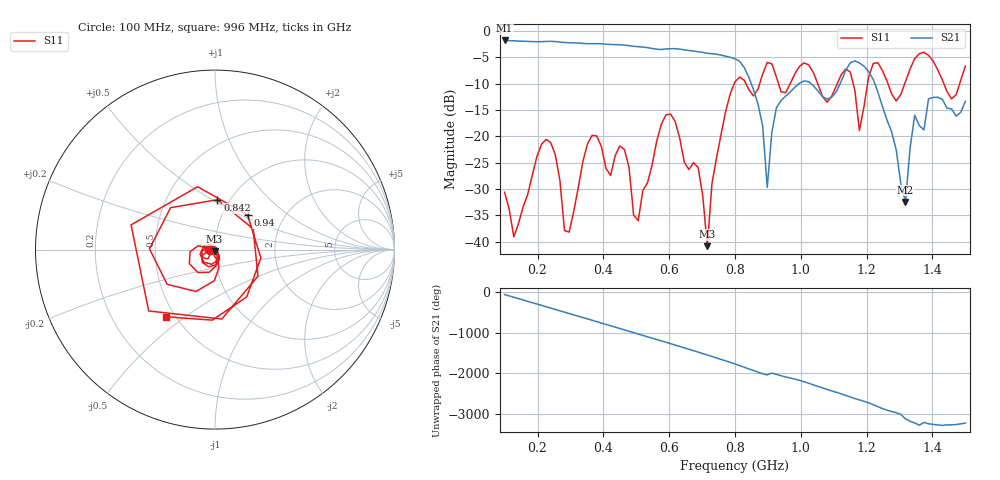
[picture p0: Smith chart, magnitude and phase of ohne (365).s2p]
! NanoVNA-App
! Date: 2025-09-25 14:23:38
! Start: 100MHz Stop: 1,5GHz Points: 101
! S-Parameter data: F S11 S21 S12 S22
# Hz S RI R 50
!  Frequency  S11_Real  S11_Imag  S21_Real  S21_Imag  S12_Real  S12_Imag  S22_Real  S22_Imag
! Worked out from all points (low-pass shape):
!   101 points, 100 MHz to 1.5 GHz, reference 50 ohm
!   highest |S21| = -1.79 dB at 100 MHz (marker M1); lowest = -32.5 dB at 1.318 GHz (marker M2)
!   |S21| within 3 dB of the highest: start of sweep to 771.8 MHz
!   lowest |S11| = -40.9 dB at 716 MHz (marker M3), VSWR 1.02, Z = 49.7 - j0.862 ohm
!   |S11| at or under -10 dB: start of sweep to 797.8 MHz; 833.1 MHz to 875 MHz (41.94 MHz wide, 4.91 % of centre); 1.051 GHz to 1.111 GHz (59.51 MHz wide, 5.5 % of centre) (the widest 3 of 7)
!   S12 and S22 are empty: the file has one direction only
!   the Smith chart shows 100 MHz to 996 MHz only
!   S11 on the Smith chart (normalised r, x): 100 MHz: 0.94, -0.01; 842 MHz: 0.88, +0.53; 940 MHz: 1.32, +0.55; 996 MHz: 0.45, -0.43
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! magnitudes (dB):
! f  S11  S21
! 100 MHz  -30.6  -1.8
! 128 MHz  -39.1  -1.9
! 226 MHz  -20.6  -2.0
! 296 MHz  -38.2  -2.2
! 338 MHz  -24.7  -2.4
! 464 MHz  -22.5  -2.7
! 506 MHz  -36.0  -3.0
! 576 MHz  -17.7  -3.5
! 688 MHz  -25.9  -3.9
! 716 MHz  -40.9  -4.2
! 800 MHz  -9.6  -5.3
! 842 MHz  -11.1  -8.8
! 898 MHz  -6.0  -29.7
! 940 MHz  -11.5  -13.2
! 996 MHz  -6.7  -9.9
! 1.038 GHz  -7.9  -10.4
! 1.178 GHz  -18.9  -6.1
! 1.22 GHz  -6.2  -9.2
! 1.276 GHz  -12.0  -19.2
! 1.318 GHz  -9.6  -32.5
! 1.346 GHz  -5.2  -16.0
! 1.5 GHz  -6.7  -13.3
